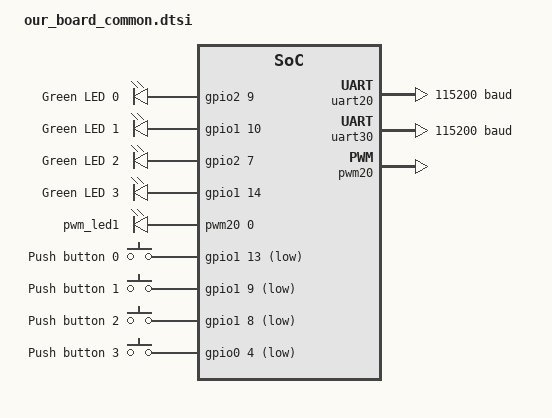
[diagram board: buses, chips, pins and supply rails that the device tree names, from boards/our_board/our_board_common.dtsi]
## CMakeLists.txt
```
cmake_minimum_required(VERSION 3.20.0)

list(APPEND DTS_ROOT ${CMAKE_CURRENT_SOURCE_DIR})

find_package(Zephyr REQUIRED HINTS $ENV{ZEPHYR_BASE})
project(my_zephyr_app)

if(CONFIG_LED_SENSOR)
	add_subdirectory(drivers/subsys/led_sensor)
endif()

target_sources(app PRIVATE src/main.cpp)
```

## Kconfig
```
menuconfig LED_SUBSYSTEM
    bool "LED Subsystem"
    default y

if LED_SUBSYSTEM

    choice
        prompt "LED blink sleep time"
        default BLINK_SLEEP_1S

        config BLINK_SLEEP_250MS
        bool "250ms (fast)"

        config BLINK_SLEEP_500MS
        bool "500ms (high)"

        config BLINK_SLEEP_1S
        bool "1s (medium)"

        config BLINK_SLEEP_2S
        bool "2s (slow)"
    endchoice

    config LED_BLINKING_PERIOD
        int
        default 250 if BLINK_SLEEP_250MS
        default 500 if BLINK_SLEEP_500MS
        default 1000 if BLINK_SLEEP_1S
        default 2000 if BLINK_SLEEP_2S


    menuconfig LED_ADVANCED
        bool "Advanced LED settings"

    if LED_ADVANCED

        config LED_BRIGHTNESS
            int "LED brightness (0-100)"
            range 0 100
            default 100

        config LED_FADE_DURATION_MS
            int "LED fade duration (ms)"
            range 0 5000
            default 500

        menu "Expert settings"
            visible if LED_ADVANCED

        config LED_DEBUG
            bool "Enable LED debugging"

        config LED_CUSTOM_PATTERN
            bool "Custom blink pattern"

        endmenu

    endif

endif

config APP_HEARTBEAT_PERIOD_MS
    int "Heartbeat period in milliseconds"
    range 100 2000
    default 500

menu "Custom drivers"
    rsource "drivers/subsys/led_sensor/Kconfig"
endmenu

menu "Zephyr Configuration"

source "Kconfig.zephyr"

endmenu
```

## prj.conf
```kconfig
CONFIG_GPIO=y
CONFIG_LOG=y
CONFIG_SENSOR=y
CONFIG_LED_SENSOR=y
CONFIG_SHELL=y
CONFIG_SHELL_BACKEND_SERIAL=y
```

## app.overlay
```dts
/ {
    aliases {
        app-led = &led0;
        led-sensor = &led_sensor;
    };

    led_sensor: led-sensor {
        compatible = "zephyr-course,led-sensor";
        gpios = <&gpio2 9 GPIO_ACTIVE_HIGH>;
        status = "okay";
    };
};

/* Same GPIO as led0: disable gpio-leds so only our driver owns the pin */
&led0 {
    status = "disabled";
};
```

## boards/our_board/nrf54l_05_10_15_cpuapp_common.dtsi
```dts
/*
 * Copyright (c) 2024 Nordic Semiconductor ASA
 *
 * SPDX-License-Identifier: Apache-2.0
 */

/* This file is common to the secure and non-secure domain */

#include "our_board_common.dtsi"

/ {
	chosen {
		zephyr,console = &uart20;
		zephyr,shell-uart = &uart20;
		zephyr,uart-mcumgr = &uart20;
		zephyr,bt-mon-uart = &uart20;
		zephyr,bt-c2h-uart = &uart20;
		zephyr,flash-controller = &rram_controller;
		zephyr,flash = &cpuapp_rram;
		zephyr,ieee802154 = &ieee802154;
		zephyr,boot-mode = &boot_mode0;
	};
};

&cpuapp_sram {
	status = "okay";
};

&lfxo {
	load-capacitors = "internal";
	load-capacitance-femtofarad = <17000>;
};

&hfxo {
	load-capacitors = "internal";
	load-capacitance-femtofarad = <15000>;
};

&regulators {
	status = "okay";
};

&vregmain {
	status = "okay";
	regulator-initial-mode = <NRF5X_REG_MODE_DCDC>;
};

&grtc {
	owned-channels = <0 1 2 3 4 5 6 7 8 9 10 11>;
	/* Channels 7-11 reserved for Zero Latency IRQs, 3-4 for FLPR */
	child-owned-channels = <3 4 7 8 9 10 11>;
	status = "okay";
};

&uart20 {
	status = "okay";
};

&nfct {
	status = "okay";
};

&gpio0 {
	status = "okay";
};

&gpio1 {
	status = "okay";
};

&gpio2 {
	status = "okay";
};

&gpiote20 {
	status = "okay";
};

&gpiote30 {
	status = "okay";
};

&radio {
	status = "okay";
};

&ieee802154 {
	status = "okay";
};

&temp {
	status = "okay";
};

&clock {
	status = "okay";
};

&gpregret1 {
	status = "okay";

	boot_mode0: boot_mode@0 {
		compatible = "zephyr,retention";
		status = "okay";
		reg = <0x0 0x1>;
	};
};

&spi00 {
	status = "okay";
	cs-gpios = <&gpio2 5 GPIO_ACTIVE_LOW>;
	pinctrl-0 = <&spi00_default>;
	pinctrl-1 = <&spi00_sleep>;
	pinctrl-names = "default", "sleep";

	mx25r64: mx25r6435f@0 {
		compatible = "jedec,spi-nor";
		status = "okay";
		reg = <0>;
		spi-max-frequency = <8000000>;
		jedec-id = [c2 28 17];
		sfdp-bfp = [
			e5 20 f1 ff  ff ff ff 03  44 eb 08 6b  08 3b 04 bb
			ee ff ff ff  ff ff 00 ff  ff ff 00 ff  0c 20 0f 52
			10 d8 00 ff  23 72 f5 00  82 ed 04 cc  44 83 48 44
			30 b0 30 b0  f7 c4 d5 5c  00 be 29 ff  f0 d0 ff ff
		];
		size = <67108864>;
		has-dpd;
		t-enter-dpd = <10000>;
		t-exit-dpd = <35000>;
	};
};

&adc {
	status = "okay";
};
```

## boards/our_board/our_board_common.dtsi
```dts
/*
 * Copyright (c) 2024 Nordic Semiconductor ASA
 *
 * SPDX-License-Identifier: Apache-2.0
 */

#include "our_board_nrf54l_05_10_15-pinctrl.dtsi"

/ {
	leds {
		compatible = "gpio-leds";

		led0: led_0 {
			gpios = <&gpio2 9 GPIO_ACTIVE_HIGH>;
			label = "Green LED 0";
		};

		led1: led_1 {
			gpios = <&gpio1 10 GPIO_ACTIVE_HIGH>;
			label = "Green LED 1";
		};

		led2: led_2 {
			gpios = <&gpio2 7 GPIO_ACTIVE_HIGH>;
			label = "Green LED 2";
		};

		led3: led_3 {
			gpios = <&gpio1 14 GPIO_ACTIVE_HIGH>;
			label = "Green LED 3";
		};
	};

	pwmleds {
		compatible = "pwm-leds";

		/*
		 * PWM signal can be exposed on GPIO pin only within same domain.
		 * There is only one domain which contains both PWM and GPIO:
		 * PWM20/21/22 and GPIO Port P1.
		 * Only LEDs connected to P1 can work with PWM, for example LED1.
		 */
		pwm_led1: pwm_led_1 {
			pwms = <&pwm20 0 PWM_MSEC(20) PWM_POLARITY_NORMAL>;
		};
	};

	buttons {
		compatible = "gpio-keys";

		button0: button_0 {
			gpios = <&gpio1 13 (GPIO_PULL_UP | GPIO_ACTIVE_LOW)>;
			label = "Push button 0";
			zephyr,code = <INPUT_KEY_0>;
		};

		button1: button_1 {
			gpios = <&gpio1 9 (GPIO_PULL_UP | GPIO_ACTIVE_LOW)>;
			label = "Push button 1";
			zephyr,code = <INPUT_KEY_1>;
		};

		button2: button_2 {
			gpios = <&gpio1 8 (GPIO_PULL_UP | GPIO_ACTIVE_LOW)>;
			label = "Push button 2";
			zephyr,code = <INPUT_KEY_2>;
		};

		button3: button_3 {
			gpios = <&gpio0 4 (GPIO_PULL_UP | GPIO_ACTIVE_LOW)>;
			label = "Push button 3";
			zephyr,code = <INPUT_KEY_3>;
		};
	};

	aliases {
		led0 = &led0;
		led1 = &led1;
		led2 = &led2;
		led3 = &led3;
		pwm-led0 = &pwm_led1;
		sw0 = &button0;
		sw1 = &button1;
		sw2 = &button2;
		sw3 = &button3;
		watchdog0 = &wdt31;
	};
};

&uart20 {
	current-speed = <115200>;
	pinctrl-0 = <&uart20_default>;
	pinctrl-1 = <&uart20_sleep>;
	pinctrl-names = "default", "sleep";
};

&uart30 {
	current-speed = <115200>;
	pinctrl-0 = <&uart30_default>;
	pinctrl-1 = <&uart30_sleep>;
	pinctrl-names = "default", "sleep";
};

&pwm20 {
	status = "okay";
	pinctrl-0 = <&pwm20_default>;
	pinctrl-1 = <&pwm20_sleep>;
	pinctrl-names = "default", "sleep";
};

&hfxo {
	startup-time-us = <854>;
};

/* Get a node label for wi-fi spi to use in shield files */
wifi_spi: &spi22 {};
```

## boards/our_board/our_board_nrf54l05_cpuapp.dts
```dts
/*
 * Copyright (c) 2024 Nordic Semiconductor ASA
 *
 * SPDX-License-Identifier: Apache-2.0
 */

/dts-v1/;

#include <nordic/nrf54l05_cpuapp.dtsi>
#include "nrf54l_05_10_15_cpuapp_common.dtsi"

/ {
	compatible = "nordic,our_board_nrf54l05-cpuapp";
	model = "Nordic nRF54L15 DK nRF54L05 Application MCU";

	chosen {
		zephyr,code-partition = &slot0_partition;
		zephyr,sram = &cpuapp_sram;
	};
};

/* FLPR not supported yet, give all SRAM and RRAM to the APP core */
&cpuapp_sram {
	reg = <0x20000000 DT_SIZE_K(96)>;
	ranges = <0x0 0x20000000 DT_SIZE_K(96)>;
};

/* Include default memory partition configuration file */
#include <nordic/nrf54l05_partition.dtsi>
```

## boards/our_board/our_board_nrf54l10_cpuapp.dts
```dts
/*
 * Copyright (c) 2024 Nordic Semiconductor ASA
 *
 * SPDX-License-Identifier: Apache-2.0
 */

/dts-v1/;

#include <nordic/nrf54l10_cpuapp.dtsi>
#include "nrf54l_05_10_15_cpuapp_common.dtsi"

/ {
	compatible = "nordic,our_board_nrf54l10-cpuapp";
	model = "Nordic nRF54L15 DK nRF54L10 Application MCU";

	chosen {
		zephyr,code-partition = &slot0_partition;
		zephyr,sram = &cpuapp_sram;
	};
};

/* FLPR not supported yet, give all SRAM and RRAM to the APP core */
&cpuapp_sram {
	reg = <0x20000000 DT_SIZE_K(192)>;
	ranges = <0x0 0x20000000 DT_SIZE_K(192)>;
};

/* Include default memory partition configuration file */
#include <nordic/nrf54l10_partition.dtsi>
```

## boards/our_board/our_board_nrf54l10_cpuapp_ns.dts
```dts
/*
 * Copyright (c) 2025 Nordic Semiconductor ASA
 *
 * SPDX-License-Identifier: Apache-2.0
 */

/dts-v1/;

#define USE_NON_SECURE_ADDRESS_MAP 1

#include <nordic/nrf54l10_cpuapp.dtsi>
#include "nrf54l_05_10_15_cpuapp_common.dtsi"

/ {
	compatible = "nordic,our_board_nrf54l10-cpuapp";
	model = "Nordic nRF54L15 DK nRF54L10 Application MCU";

	chosen {
		zephyr,code-partition = &slot0_ns_partition;
		zephyr,sram = &sram0_ns;
		zephyr,entropy = &psa_rng;
	};

	/delete-node/ rng;

	psa_rng: psa-rng {
		status = "okay";
	};
};

/ {
	/*
	 * Default SRAM planning when building for nRF54L10 with ARM TrustZone-M support.
	 * - Lowest 96 kB SRAM allocated to Secure image (sram0_s).
	 * - Upper 96 kB SRAM allocated to Non-Secure image (sram0_ns).
	 *
	 * nRF54L10 has 192 kB of volatile memory (SRAM) but the last 42kB are reserved for
	 * the FLPR MCU.
	 * This static layout needs to be the same with the upstream TF-M layout in the
	 * header flash_layout.h of the relevant platform. Any updates in the layout
	 * needs to happen both in the flash_layout.h and in this file at the same time.
	 */
	reserved-memory {
		#address-cells = <1>;
		#size-cells = <1>;
		ranges;

		sram0_s: image_s@20000000 {
			/* Secure image memory */
			reg = <0x20000000 DT_SIZE_K(72)>;
		};

		sram0_ns: image_ns@20012000 {
			/* Non-Secure image memory */
			reg = <0x20012000 DT_SIZE_K(72)>;
		};
	};
};

&cpuapp_rram {
	/* TODO: revert this hack when TF-M update is available that fixes partition sizes */
	reg = <0x0 DT_SIZE_K(1022)>;

	partitions {
		compatible = "fixed-partitions";
		#address-cells = <1>;
		#size-cells = <1>;
		/* nRF54L10 has 1022 kB of non volatile memory (RRAM) but the
		 * last 62kB are reserved for the FLPR MCU.
		 *
		 * This static layout needs to be the same with the upstream TF-M layout in the
		 * header flash_layout.h of the relevant platform. Any updates in the layout
		 * needs to happen both in the flash_layout.h and in this file at the same time.
		 */
		slot0_partition: partition@0 {
			label = "image-0";
			reg = <0x0000000 DT_SIZE_K(384)>;
		};

		tfm_ps_partition: partition@60000 {
			label = "tfm-ps";
			reg = <0x00060000 DT_SIZE_K(16)>;
		};

		tfm_its_partition: partition@64000 {
			label = "tfm-its";
			reg = <0x00064000 DT_SIZE_K(16)>;
		};

		tfm_otp_partition: partition@68000 {
			label = "tfm-otp";
			reg = <0x00068000 DT_SIZE_K(8)>;
		};

		slot0_ns_partition: partition@6A000 {
			label = "image-0-nonsecure";
			reg = <0x0006A000 DT_SIZE_K(504)>;
		};

		storage_partition: partition@E8000 {
			label = "storage";
			reg = <0x000E8000 DT_SIZE_K(32)>;
		};
	};
};

&uart30 {
	/* Disable so that TF-M can use this UART */
	status = "disabled";
};
```

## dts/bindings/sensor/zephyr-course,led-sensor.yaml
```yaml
description: On-board LED exposed as a simple sensor

compatible: "zephyr-course,led-sensor"

include: sensor-device.yaml

properties:
  gpios:
    type: phandle-array
    required: true
    description: GPIO connected to the LED
```

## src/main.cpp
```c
#include <led_sensor.h>

#include <zephyr/device.h>
#include <zephyr/drivers/sensor.h>
#include <zephyr/kernel.h>
#include <zephyr/logging/log.h>
#include <zephyr/shell/shell.h>
#include <zephyr/sys/util.h>

#define SLEEP_TIME_MS 1000

/* The devicetree node identifier for the "led-sensor" alias. */
#define LED_SENSOR_NODE DT_ALIAS(led_sensor)

static const struct device *const led_sensor = DEVICE_DT_GET(LED_SENSOR_NODE);

LOG_MODULE_REGISTER(main, LOG_LEVEL_INF);

extern "C" int cmd_sensor_fetch(const struct shell *shell, size_t argc, char **argv)
{
	ARG_UNUSED(argc);
	ARG_UNUSED(argv);

	if (!device_is_ready(led_sensor)) {
		shell_error(shell, "sensor device is not ready");
		return -ENODEV;
	}

	int ret = sensor_sample_fetch(led_sensor);
	if (ret < 0) {
		shell_error(shell, "sensor_sample_fetch() failed: %d", ret);
		return ret;
	}

	shell_print(shell, "sensor_sample_fetch() called");
	return 0;
}

extern "C" int cmd_sensor_read(const struct shell *shell, size_t argc, char **argv)
{
	ARG_UNUSED(argc);
	ARG_UNUSED(argv);
	struct sensor_value val;
	int ret;

	if (!device_is_ready(led_sensor)) {
		shell_error(shell, "sensor device is not ready");
		return -ENODEV;
	}

	ret = sensor_channel_get(led_sensor, SENSOR_CHAN_PROX, &val);
	if (ret < 0) {
		shell_error(shell, "sensor_channel_get() failed: %d", ret);
		return ret;
	}

	shell_print(shell, "prox: %d.%06d", val.val1, val.val2);
	return 0;
}

extern "C" int cmd_sensor_info(const struct shell *shell, size_t argc, char **argv)
{
	ARG_UNUSED(argc);
	ARG_UNUSED(argv);

	shell_print(shell, "name: %s", led_sensor->name);
	shell_print(shell, "ready: %s", device_is_ready(led_sensor) ? "yes" : "no");
	return 0;
}

SHELL_STATIC_SUBCMD_SET_CREATE(sensor_subcmds,
	SHELL_CMD(fetch, NULL, "Call sensor_sample_fetch()", cmd_sensor_fetch),
	SHELL_CMD(read, NULL, "Call sensor_channel_get() for PROX", cmd_sensor_read),
	SHELL_CMD(info, NULL, "Print sensor name and ready state", cmd_sensor_info),
	SHELL_SUBCMD_SET_END
);

SHELL_CMD_REGISTER(sensor, &sensor_subcmds, "LED sensor commands", NULL);

int main(void)
{
	bool led_state = true;
	struct sensor_value val;

	if (!device_is_ready(led_sensor)) {
		return 0;
	}

	while (1) {
		if (led_sensor_set_sample(led_sensor, led_state ? 1 : 0) < 0) {
			return 0;
		}

		if (sensor_sample_fetch_chan(led_sensor, SENSOR_CHAN_ALL) < 0) {
			return 0;
		}

		k_msleep(CONFIG_APP_HEARTBEAT_PERIOD_MS / 2);

		if (sensor_channel_get(led_sensor, SENSOR_CHAN_PROX, &val) < 0) {
			return 0;
		}

		led_state = !led_state;
		LOG_DBG("LED state: %s, sample: %d", led_state ? "ON" : "OFF",
			led_sensor_get_sample(led_sensor));

		k_msleep(CONFIG_APP_HEARTBEAT_PERIOD_MS / 2);
	}
	return 0;
}
```
